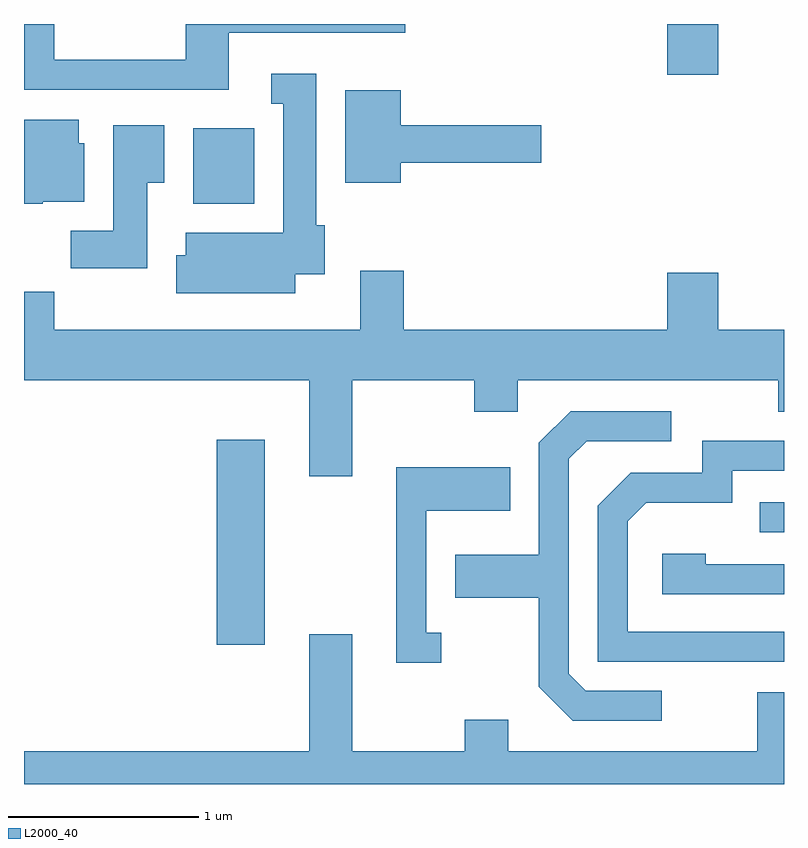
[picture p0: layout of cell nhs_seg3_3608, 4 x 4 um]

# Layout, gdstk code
import gdstk
lib = gdstk.Library(unit=1e-6, precision=1e-09)
def R(c, l, rs):  # rectangles x0, y0, x1, y1
    for r in rs: c.add(gdstk.rectangle(r[:2], r[2:], *l))
def P(c, l, *ps):  # polygons
    for p in ps: c.add(gdstk.Polygon(p, *l))
L2000_40 = (2000, 40)

nhs_seg3_3608 = lib.new_cell('nhs_seg3_3608')
R(nhs_seg3_3608, L2000_40, [(292.626,1124.626,292.879,1125.704), (295.483,1125.216,295.611,1125.374), (292.501,1126.946,292.824,1127.344), (294.996,1127.626,295.264,1127.892)])
P(nhs_seg3_3608, L2000_40, [(292.689,1127.846),(293.618,1127.846),(293.618,1127.892),(292.461,1127.892),(292.461,1127.704),(291.769,1127.704),(291.769,1127.892),(291.611,1127.892),(291.611,1127.546),(292.689,1127.546)],
  [(293.039,1126.576),(293.194,1126.576),(293.194,1126.834),(293.149,1126.834),(293.149,1127.629),(292.913,1127.629),(292.913,1127.471),(292.976,1127.471),(292.976,1126.794),(292.461,1126.794),(292.461,1126.674),(292.411,1126.674),(292.411,1126.476),(293.039,1126.476)],
  [(293.594,1127.161),(294.334,1127.161),(294.334,1127.359),(293.594,1127.359),(293.594,1127.544),(293.301,1127.544),(293.301,1127.056),(293.594,1127.056)],
  [(291.71,1126.956),(291.929,1126.956),(291.929,1127.264),(291.899,1127.264),(291.899,1127.389),(291.611,1127.389),(291.611,1126.946),(291.71,1126.946)],
  [(292.259,1127.056),(292.349,1127.056),(292.349,1127.359),(292.081,1127.359),(292.081,1126.804),(291.856,1126.804),(291.856,1126.606),(292.259,1126.606)],
  [(293.339,1126.016),(293.981,1126.016),(293.981,1125.851),(294.209,1125.851),(294.209,1126.016),(295.581,1126.016),(295.581,1125.851),(295.611,1125.851),(295.611,1126.284),(295.264,1126.284),(295.264,1126.584),(294.996,1126.584),(294.996,1126.284),(293.609,1126.284),(293.609,1126.594),(293.381,1126.594),(293.381,1126.284),(291.769,1126.284),(291.769,1126.484),(291.611,1126.484),(291.611,1126.016),(293.111,1126.016),(293.111,1125.511),(293.339,1125.511)],
  [(294.968,1124.384),(294.567,1124.384),(294.479,1124.472),(294.479,1125.604),(294.572,1125.696),(295.018,1125.696),(295.018,1125.854),(294.489,1125.854),(294.321,1125.687),(294.321,1125.099),(293.881,1125.099),(293.881,1124.871),(294.321,1124.871),(294.321,1124.404),(294.499,1124.226),(294.968,1124.226)],
  [(295.611,1124.694),(294.789,1124.694),(294.789,1125.274),(294.887,1125.371),(295.339,1125.371),(295.339,1125.541),(295.611,1125.541),(295.611,1125.699),(295.181,1125.699),(295.181,1125.529),(294.804,1125.529),(294.631,1125.357),(294.631,1124.536),(295.611,1124.536)],
  [(293.808,1124.689),(293.729,1124.689),(293.729,1125.331),(294.169,1125.331),(294.169,1125.559),(293.571,1125.559),(293.571,1124.531),(293.808,1124.531)],
  [(295.611,1125.049),(295.199,1125.049),(295.199,1125.104),(294.971,1125.104),(294.971,1124.891),(295.611,1124.891)],
  [(295.611,1124.374),(295.471,1124.374),(295.471,1124.064),(294.159,1124.064),(294.159,1124.229),(293.931,1124.229),(293.931,1124.064),(293.339,1124.064),(293.339,1124.679),(293.111,1124.679),(293.111,1124.064),(291.611,1124.064),(291.611,1123.892),(295.611,1123.892)])

lib.write_gds('nhs_seg3_3608.gds')
